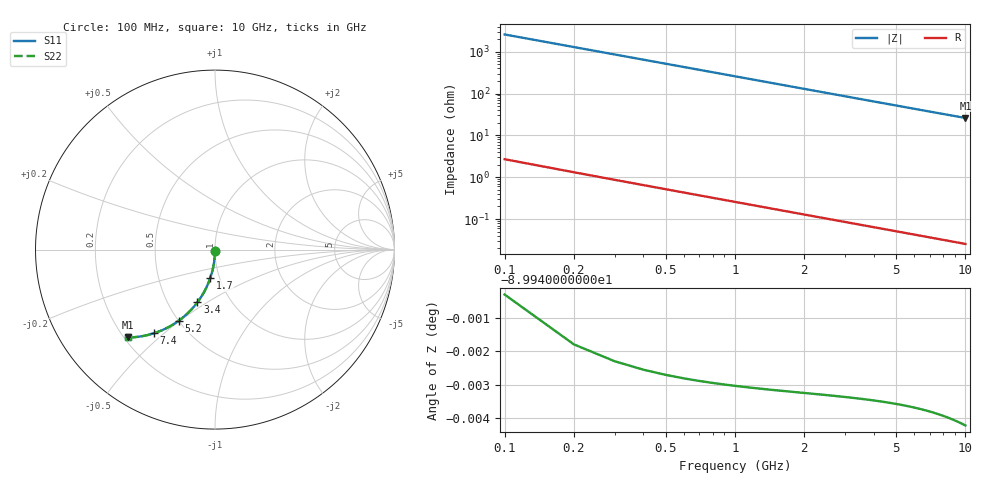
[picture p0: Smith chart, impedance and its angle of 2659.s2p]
# Hz S RI R 50.00
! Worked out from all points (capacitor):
!   100 points, 100 MHz to 10 GHz, reference 50 ohm
!   read as one part in shunt: C = 616 fF near 100 MHz
!   lowest |Z| = 26.1 ohm at 10 GHz (marker M1)
!   S11 on the Smith chart (normalised r, x): 100 MHz: 1.00, -0.02; 1.7 GHz: 0.90, -0.29; 3.4 GHz: 0.70, -0.45; 5.2 GHz: 0.50, -0.49; 7.4 GHz: 0.33, -0.46; 10 GHz: 0.22, -0.40
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1e8  -8.47e-05 -0.00958  0.9999 -0.00977  0.9999 -0.00977  -8.47e-05 -0.00958
2e8  -0.000375 -0.0192  0.9996 -0.0195  0.9996 -0.0195  -0.000375 -0.0192
3e8  -0.000852 -0.0287  0.9991 -0.0293  0.9991 -0.0293  -0.000852 -0.0287
4e8  -0.00151 -0.0383  0.9984 -0.039  0.9984 -0.039  -0.00151 -0.0383
5e8  -0.00236 -0.0478  0.9976 -0.0487  0.9976 -0.0487  -0.00236 -0.0478
6e8  -0.0034 -0.0573  0.9966 -0.0584  0.9966 -0.0584  -0.0034 -0.0573
8e8  -0.00601 -0.0762  0.994 -0.0777  0.994 -0.0777  -0.00601 -0.0762
1.1e9  -0.0113 -0.1042  0.9887 -0.1062  0.9887 -0.1062  -0.0113 -0.1042
1.4e9  -0.0181 -0.1317  0.9818 -0.1343  0.9818 -0.1343  -0.0181 -0.1317
1.7e9  -0.0265 -0.1585  0.9735 -0.1617  0.9735 -0.1617  -0.0265 -0.1585
1.8e9  -0.0296 -0.1673  0.9704 -0.1706  0.9704 -0.1706  -0.0296 -0.1673
2.1e9  -0.0398 -0.193  0.9602 -0.197  0.9602 -0.197  -0.0398 -0.193
2.5e9  -0.0554 -0.226  0.9445 -0.2307  0.9445 -0.2307  -0.0554 -0.226
2.9e9  -0.0731 -0.2572  0.9268 -0.2626  0.9268 -0.2626  -0.0731 -0.2572
3.4e9  -0.0978 -0.2934  0.9021 -0.2998  0.9021 -0.2998  -0.0978 -0.2934
4.2e9  -0.1418 -0.3445  0.8581 -0.3524  0.8581 -0.3524  -0.1418 -0.3445
5.1e9  -0.1959 -0.3916  0.804 -0.4013  0.804 -0.4013  -0.1959 -0.3916
5.2e9  -0.202 -0.3961  0.7979 -0.406  0.7979 -0.406  -0.202 -0.3961
6.7e9  -0.2958 -0.4495  0.7041 -0.4624  0.7041 -0.4624  -0.2958 -0.4495
7.4e9  -0.3387 -0.4657  0.6611 -0.4799  0.6611 -0.4799  -0.3387 -0.4657
8.4e9  -0.3976 -0.4808  0.6023 -0.497  0.6023 -0.497  -0.3976 -0.4808
1e10  -0.4832 -0.4895  0.5166 -0.509  0.5166 -0.509  -0.4832 -0.4895
